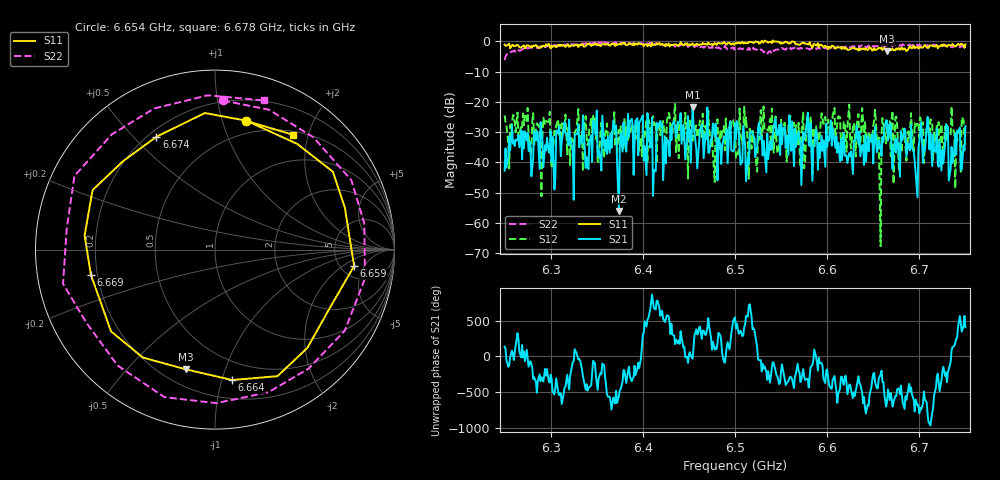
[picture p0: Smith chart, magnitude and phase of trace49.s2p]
# Hz S RI R 50
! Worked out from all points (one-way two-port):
!   401 points, 6.25 GHz to 6.75 GHz, reference 50 ohm
!   highest |S21| = -21.70 dB at 6.454 GHz (marker M1); lowest = -56.1 dB at 6.374 GHz (marker M2)
!   lowest |S11| = -3.3 dB at 6.665 GHz (marker M3), VSWR 5.38, Z = 14.7 - j37.2 ohm
!   |S11| at or under -10 dB: nowhere
!   |S22| runs from -6.2 to -0.1 dB; largest |S21 - S12| = 0.11
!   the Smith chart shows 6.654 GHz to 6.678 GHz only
!   S11 on the Smith chart (normalised r, x): 6.654 GHz: 0.38, +1.20; 6.659 GHz: 6.63, -3.11; 6.664 GHz: 0.34, -1.08; 6.669 GHz: 0.17, -0.10; 6.674 GHz: 0.23, +0.58; 6.678 GHz: 0.55, +1.75
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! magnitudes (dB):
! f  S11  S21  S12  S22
! 6.25 GHz  -1.2  -42.8  -24.5  -6.2
! 6.334 GHz  -1.0  -33.9  -29.8  -0.8
! 6.374 GHz  -0.9  -56.1  -29.4  -0.1
! 6.386 GHz  -0.8  -26.5  -30.1  -0.7
! 6.414 GHz  -1.2  -43.0  -26.6  -0.7
! 6.418 GHz  -0.6  -27.0  -27.2  -0.8
! 6.425 GHz  -1.0  -40.3  -37.7  -0.8
! 6.454 GHz  -0.7  -21.7  -32.9  -1.4
! 6.5 GHz  -0.6  -27.2  -27.1  -2.2
! 6.584 GHz  -2.2  -46.1  -43.9  -2.4
! 6.654 GHz  -2.6  -36.7  -32.2  -1.6
! 6.659 GHz  -2.2  -37.9  -31.1  -1.5
! 6.664 GHz  -2.7  -26.1  -33.7  -1.4
! 6.665 GHz  -3.3  -26.2  -27.9  -1.4
! 6.668 GHz  -2.7  -27.2  -26.4  -1.5
! 6.669 GHz  -3.0  -27.7  -37.9  -1.7
! 6.674 GHz  -3.0  -32.3  -25.2  -1.3
! 6.678 GHz  -2.2  -36.6  -43.1  -1.2
! 6.696 GHz  -2.0  -43.5  -28.1  -1.4
! 6.71 GHz  -2.2  -28.9  -26.6  -1.6
! 6.735 GHz  -1.4  -34.9  -21.5  -1.7
! 6.75 GHz  -1.0  -28.0  -34.2  -2.3
